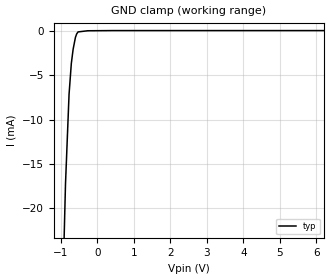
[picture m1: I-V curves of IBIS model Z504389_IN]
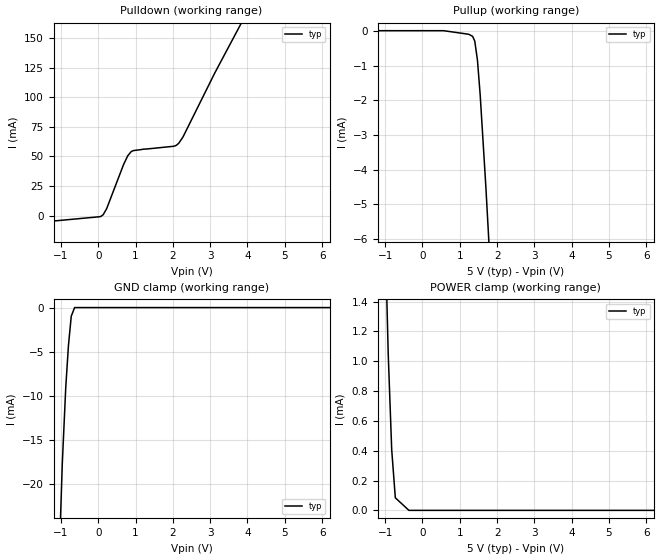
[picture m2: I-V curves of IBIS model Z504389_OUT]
| YOU ARE ONLY AUTHORIZED TO USE THIS SOFTWARE
| ACCORDING TO LICENSOR'S LICENSE RESTRICTIONS.
[IBIS Ver] 3.1
[File Name] sn54ls157j.ibs
[File Rev] 2.0
[Source] Measured and created by ICX Technology
[Date] Friday 7/14/00 9:08:13 AM
[Copyright]
| (C) COPYRIGHT 1993-2000
| MENTOR GRAPHICS CORPORATION
| ICX STANDARD LIBRARY, ICX PROJECT MODELING,
| ICX CUSTOM MODELING, ICX VENDOR MODEL
| ALL RIGHTS RESERVED.
| THE FOLLOWING ARE TRADEMARKS OR SERVICE MARKS OF
| MENTOR GRAPHICS CORPORATION:ICX (R), ICX STANDARD
| LIBRARY(R), ICX PROJECT MODELING(R), ICX CUSTOM
| MODELING(R), qualityIBIS(TM), MODELVIEWER(TM),
| AND MODELEDITOR(TM)
| ALL COPIES OF SOFTWARE, INCLUDING BUT NOT LIMITED TO
| ANY MODIFICATIONS, ENHANCEMENTS OR DERIVATIVE WORKS,
| MUST CONTAIN ALL MENTOR GRAPHICS CORPORATION'S
| NOTICES AND LEGENDS, INCLUDING THOSE EMBEDDED IN
| SOFTWARE AND THOSE AFFIXED TO SOFTWARE MEDIUM
| AND CONTAINER, AS RECEIVED FROM MENTOR GRAPHICS
| CORPORATION.
|  ZAP Model Builder 2.7
[Component] SN54LS157J
[Manufacturer] OnSemiconductor
[Package]
| variable   typ   min   max
R_pkg  .212ohms NA NA
L_pkg  4.758nH NA NA
C_pkg  1.944pF NA NA
[Pin] signal_name  model_name  R_pin  L_pin C_pin
1 B_A Z504389_IN .224 7.258n 2.683p
2 A0 Z504389_IN .216 5.258n 2.19p
3 B0 Z504389_IN .208 3.758n 1.697p
4 Y0 Z504389_OUT .2 2.758n 1.204p
5 A1 Z504389_IN .2 2.758n 1.204p
6 B1 Z504389_IN .208 3.758n 1.697p
7 Y1 Z504389_OUT .216 5.258n 2.19p
8 GND GND .224 7.258n 2.683p
9 Y2 Z504389_OUT .224 7.258n 2.683p
10 B2 Z504389_IN .216 5.258n 2.19p
11 A2 Z504389_IN .208 3.758n 1.697p
12 Y3 Z504389_OUT .2 2.758n 1.204p
13 B3 Z504389_IN .2 2.758n 1.204p
14 A3 Z504389_IN .208 3.758n 1.697p
15 _G Z504389_IN .216 5.258n 2.19p
16 VCC POWER .224 7.258n 2.683p
| Models and submodels in the file (2): Z504389_IN (Input), Z504389_OUT (Output)
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| (C) COPYRIGHT 1993-2000
| MENTOR GRAPHICS CORPORATION
| ICX STANDARD LIBRARY, ICX PROJECT MODELING,
| ICX CUSTOM MODELING, ICX VENDOR MODEL
| ALL RIGHTS RESERVED.
| THE FOLLOWING ARE TRADEMARKS OR SERVICE MARKS OF
| MENTOR GRAPHICS CORPORATION:ICX (R), ICX STANDARD
| LIBRARY(R), ICX PROJECT MODELING(R), ICX CUSTOM
| MODELING(R), qualityIBIS(TM), MODELVIEWER(TM),
| AND MODELEDITOR(TM)
| ALL COPIES OF SOFTWARE, INCLUDING BUT NOT LIMITED TO
| ANY MODIFICATIONS, ENHANCEMENTS OR DERIVATIVE WORKS,
| MUST CONTAIN ALL MENTOR GRAPHICS CORPORATION'S
| NOTICES AND LEGENDS, INCLUDING THOSE EMBEDDED IN
| SOFTWARE AND THOSE AFFIXED TO SOFTWARE MEDIUM
| AND CONTAINER, AS RECEIVED FROM MENTOR GRAPHICS
| CORPORATION.
| Model Application Version 1.89 2/18/99.
[Model] Z504389_IN
Model_type Input
Vinl = 800.0mV
Vinh = 2.000V
C_comp 4.000pF NA NA
| variable typ   min   max
[Voltage Range] 5.000V NA NA
[GND Clamp Reference] 0.000V NA NA
[POWER Clamp Reference] 5.000V NA NA
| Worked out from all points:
|   GND clamp passes 1 mA (typ) near -0.61 V on its own axis
[GND Clamp]
-5V       -686.5mA   NA         NA
-872.5mV  -17.29mA   NA         NA
-775mV    -7.178mA   NA         NA
-712.9mV  -3.705mA   NA         NA
-664.1mV  -2.117mA   NA         NA
-600.6mV  -766.2uA   NA         NA
-566.4mV  -368.5uA   NA         NA
-528mV    -144.4uA   NA         NA
-264mV    -14.69uA   NA         NA
429.7mV   5.864uA    NA         NA
10V       5.864uA    NA         NA
[POWER Clamp]
-5V       0A         NA         NA
10V       0A         NA         NA
| (C) COPYRIGHT 1993-2000
| MENTOR GRAPHICS CORPORATION
| ICX STANDARD LIBRARY, ICX PROJECT MODELING,
| ICX CUSTOM MODELING, ICX VENDOR MODEL
| ALL RIGHTS RESERVED.
| THE FOLLOWING ARE TRADEMARKS OR SERVICE MARKS OF
| MENTOR GRAPHICS CORPORATION:ICX (R), ICX STANDARD
| LIBRARY(R), ICX PROJECT MODELING(R), ICX CUSTOM
| MODELING(R), qualityIBIS(TM), MODELVIEWER(TM),
| AND MODELEDITOR(TM)
| ALL COPIES OF SOFTWARE, INCLUDING BUT NOT LIMITED TO
| ANY MODIFICATIONS, ENHANCEMENTS OR DERIVATIVE WORKS,
| MUST CONTAIN ALL MENTOR GRAPHICS CORPORATION'S
| NOTICES AND LEGENDS, INCLUDING THOSE EMBEDDED IN
| SOFTWARE AND THOSE AFFIXED TO SOFTWARE MEDIUM
| AND CONTAINER, AS RECEIVED FROM MENTOR GRAPHICS
| CORPORATION.
| Model Application Version 1.89 2/18/99.
[Model] Z504389_OUT
Model_type Output
Vref=5.000V
Rref=2.000kohms
Cref=15.00pF
Vmeas=1.300V
C_comp 8.000pF NA NA
| variable typ   min   max
[Voltage Range] 5.000V NA NA
[POWER Clamp Reference] 5.000V NA NA
[Pullup Reference] 5.000V NA NA
[Pulldown Reference] 0.000V NA NA
[GND Clamp Reference] 0.000V NA NA
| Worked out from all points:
|   slope of the pulldown table from 0 to 0.75 V, typ, clamps not added: 15.3 ohm
|   slope of the pullup table from 0 to 0.75 V, typ, clamps not added: 26.6 kohm
|   GND clamp passes 1 mA (typ) near -0.73 V on its own axis
|   POWER clamp passes 1 mA (typ) near -0.91 V on its own axis
[GND Clamp]
-5V       -596mA     NA         NA
-1.195V   -96.58mA   NA         NA
-1.177V   -92.61mA   NA         NA
-1.162V   -83.34mA   NA         NA
-1.138V   -40.06mA   NA         NA
-964.9mV  -17.65mA   NA         NA
-872.2mV  -9.021mA   NA         NA
-799.9mV  -4.289mA   NA         NA
-724.2mV  -961.9uA   NA         NA
-633.7mV  0A         NA         NA
10V       0A         NA         NA
[Pulldown]
-5V       -15.77mA   NA         NA
68.44mV   -778.2uA   NA         NA
131.8mV   705.5uA    NA         NA
224.2mV   5.804mA    NA         NA
678.8mV   43.21mA    NA         NA
791.2mV   50.61mA    NA         NA
947.4mV   54.96mA    NA         NA
2.021V    58.58mA    NA         NA
2.158V    61.17mA    NA         NA
2.271V    66.47mA    NA         NA
3.125V    120.7mA    NA         NA
10V       528.3mA    NA         NA
[Pullup]
-5V       6.023uA    NA         NA
566mV     6.023uA    NA         NA
1.241V    -97.49uA   NA         NA
1.343V    -156.7uA   NA         NA
1.401V    -290.1uA   NA         NA
1.474V    -846.7uA   NA         NA
1.547V    -1.846mA   NA         NA
1.699V    -4.496mA   NA         NA
10V       -167.1mA   NA         NA
[POWER Clamp]
-5V       48.97mA    NA         NA
-1.011V   1.959mA    NA         NA
-918mV    1.046mA    NA         NA
-825mV    407.1uA    NA         NA
-728mV    84.22uA    NA         NA
-364mV    0A         NA         NA
10V       0A         NA         NA
[Ramp]
| variable typ min max
dV/dt_r 1.866/4.666n NA NA
dV/dt_f 1.866/2.059n NA NA
R_load = 500.0Ohms
